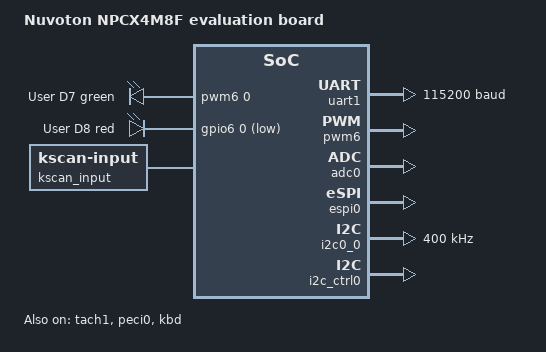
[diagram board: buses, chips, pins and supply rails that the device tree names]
/*
 * Copyright (c) 2023 Nuvoton Technology Corporation.
 *
 * SPDX-License-Identifier: Apache-2.0
 */

/dts-v1/;

#include <nuvoton/npcx4m8f.dtsi>
#include <nuvoton/npcx/npcx-espi-vws-ex-map.dtsi>
#include "npcx4m8f_evb-pinctrl.dtsi"

/ {
	model = "Nuvoton NPCX4M8F evaluation board";

	chosen {
		zephyr,sram = &sram0;
		zephyr,console = &uart1;
		zephyr,flash = &flash0;
		zephyr,keyboard-scan = &kscan_input;
	};

	aliases {
		pwm-led0 = &pwm_led0_green;
		led0 = &gpio_led_red;
		pwm-0 = &pwm6;
		i2c-0 = &i2c0_0;
		watchdog0 = &twd0;
		peci-0 = &peci0;
		kscan0 = &kscan_input;
	};

	leds-pwm {
		compatible = "pwm-leds";
		pwm_led0_green: pwm_led_0 {
			pwms = <&pwm6 0 PWM_MSEC(20) PWM_POLARITY_INVERTED>;
			label = "User D7 green";
		};
	};

	leds-gpio {
		compatible = "gpio-leds";
		gpio_led_red: led_0 {
			gpios = <&gpio6 0 GPIO_ACTIVE_LOW>;
			label = "User D8 red";
		};
	};
};

/* Overwrite default device properties with overlays in board dt file here. */
&uart1 {
	status = "okay";
	current-speed = <115200>;
	/* Use UART1_SL2 ie. PIN64.65 */
	pinctrl-0 = <&uart1_2_sin_gp64 &uart1_2_sout_gp65>;
	pinctrl-names = "default";
};

&pwm6 {
	status = "okay";
	pinctrl-0 = <&pwm6_gpc0>;
	pinctrl-names = "default";
};

&adc0 {
	status = "okay";
	/* Use adc0 channel 0 and 2 for 'adc_api' driver tests */
	pinctrl-0 = <&adc0_chan0_gp45 &adc0_chan2_gp43>;
	pinctrl-names = "default";
};

&espi0 {
	status = "okay";
	pinctrl-0 = <&espi_lpc_gp46_47_51_52_53_54_55_57>;
	pinctrl-names = "default";
};

&i2c0_0 {
	status = "okay";
	pinctrl-0 = <&i2c0_0_sda_scl_gpb4_b5>;
	pinctrl-names = "default";
	clock-frequency = <I2C_BITRATE_FAST>;
};

&i2c_ctrl0 {
	status = "okay";
};

&tach1 {
	status = "okay";
	pinctrl-0 = <&ta1_1_in_gp40>;
	pinctrl-names = "default";
	port = <NPCX_TACH_PORT_A>;
	sample-clk = <NPCX_TACH_FREQ_LFCLK>;
	pulses-per-round = <1>;
};

&peci0 {
	status = "okay";
	pinctrl-0 = <&peci_dat_gp81>;
	pinctrl-names = "default";
};

&kbd {
	/* Demonstrate a 13 x 8 keyboard matrix on evb */
	pinctrl-0 = <&ksi0_gp31 &ksi1_gp30 &ksi2_gp27 &ksi3_gp26
		     &ksi4_gp25 &ksi5_gp24 &ksi6_gp23 &ksi7_gp22
		     &kso00_gp21 &kso01_gp20 &kso02_gp17 &kso03_gp16
		     &kso04_gp15 &kso05_gp14 &kso06_gp13 &kso07_gp12
		     &kso08_gp11 &kso09_gp10 &kso10_gp07 &kso11_gp06
		     &kso12_gp05>;
	pinctrl-names = "default";
	row-size = <8>;
	col-size = <13>;
	status = "okay";

	kscan_input: kscan-input {
		compatible = "zephyr,kscan-input";
	};
};

&i3c0 {
	pinctrl-0 = <&i3c1_sda_scl_gpe3_e4>;
	pinctrl-names = "default";
};

&i3c1 {
	pinctrl-0 = <&i3c2_sda_scl_gp50_56>;
	pinctrl-names = "default";
};

&i3c2 {
	pinctrl-0 = <&i3c3_sda_scl_gpf4_f5>;
	pinctrl-names = "default";
};
